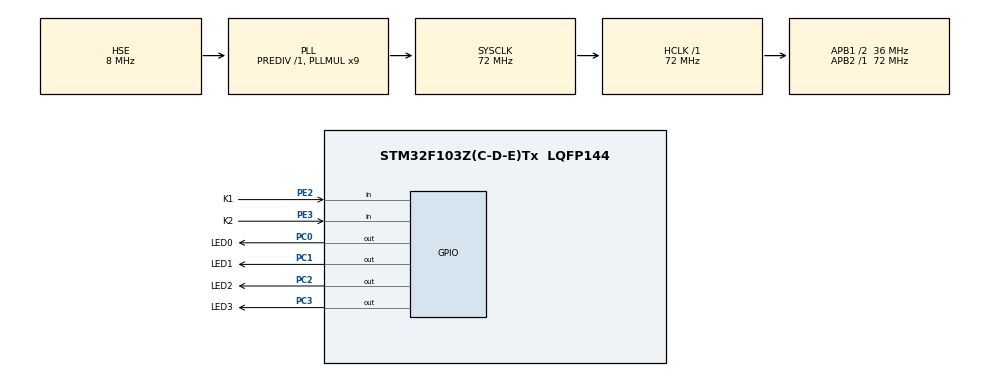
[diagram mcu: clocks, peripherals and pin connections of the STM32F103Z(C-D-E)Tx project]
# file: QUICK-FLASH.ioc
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Mcu.Family=STM32F1
Mcu.Name=STM32F103Z(C-D-E)Tx
Mcu.Package=LQFP144
NVIC.PriorityGroup=NVIC_PRIORITYGROUP_4
OSC_IN.Mode=HSE-External-Oscillator
OSC_IN.Signal=RCC_OSC_IN
OSC_OUT.Mode=HSE-External-Oscillator
OSC_OUT.Signal=RCC_OSC_OUT
PA13.Mode=Serial_Wire
PA13.Signal=SYS_JTMS-SWDIO
PA14.Mode=Serial_Wire
PA14.Signal=SYS_JTCK-SWCLK
PC0.GPIO_Label=LED0
PC0.GPIO_ModeDefaultOutputPP=GPIO_MODE_OUTPUT_PP
PC0.GPIO_PuPd=GPIO_NOPULL
PC0.GPIO_Speed=GPIO_SPEED_FREQ_LOW
PC0.PinState=GPIO_PIN_SET
PC0.Signal=GPIO_Output
PC1.GPIO_Label=LED1
PC1.GPIO_ModeDefaultOutputPP=GPIO_MODE_OUTPUT_PP
PC1.GPIO_PuPd=GPIO_NOPULL
PC1.GPIO_Speed=GPIO_SPEED_FREQ_LOW
PC1.PinState=GPIO_PIN_SET
PC1.Signal=GPIO_Output
PC2.GPIO_Label=LED2
PC2.GPIO_ModeDefaultOutputPP=GPIO_MODE_OUTPUT_PP
PC2.GPIO_PuPd=GPIO_NOPULL
PC2.GPIO_Speed=GPIO_SPEED_FREQ_LOW
PC2.PinState=GPIO_PIN_SET
PC2.Signal=GPIO_Output
PC3.GPIO_Label=LED3
PC3.GPIO_ModeDefaultOutputPP=GPIO_MODE_OUTPUT_PP
PC3.GPIO_PuPd=GPIO_NOPULL
PC3.GPIO_Speed=GPIO_SPEED_FREQ_LOW
PC3.PinState=GPIO_PIN_SET
PC3.Signal=GPIO_Output
PE2.GPIO_Label=K1
PE2.Signal=GPIO_Input
PE3.GPIO_Label=K2
PE3.Signal=GPIO_Input
ProjectManager.HeapSize=0x200
ProjectManager.StackSize=0x400
ProjectManager.TargetToolchain=MDK-ARM V5.27
RCC.ADCPresc=RCC_ADCPCLK2_DIV6
RCC.AHBFreq_Value=72000000
RCC.APB1CLKDivider=RCC_HCLK_DIV2
RCC.APB1Freq_Value=36000000
RCC.APB1TimFreq_Value=72000000
RCC.APB2Freq_Value=72000000
RCC.APB2TimFreq_Value=72000000
RCC.HCLKFreq_Value=72000000
RCC.PLLMUL=RCC_PLL_MUL9
RCC.PLLSourceVirtual=RCC_PLLSOURCE_HSE
RCC.SYSCLKFreq_VALUE=72000000
RCC.SYSCLKSource=RCC_SYSCLKSOURCE_PLLCLK
RCC.USBFreq_Value=48000000
RCC.USBPrescaler=RCC_USBCLKSOURCE_PLL_DIV1_5
board=custom

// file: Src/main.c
/* USER CODE BEGIN Header */
/**
  ******************************************************************************
  * @file           : main.c
  * @brief          : Main program body
  ******************************************************************************
  * @attention
  *
  * <h2><center>&copy; Copyright (c) 2020 STMicroelectronics.
  * All rights reserved.</center></h2>
  *
  * This software component is licensed by ST under BSD 3-Clause license,
  * the "License"; You may not use this file except in compliance with the
  * License. You may obtain a copy of the License at:
  *                        opensource.org/licenses/BSD-3-Clause
  *
  ******************************************************************************
  */
/* USER CODE END Header */

#include "main.h"
#include "gpio.h"

/* USER CODE BEGIN Includes */
#include <stdio.h>

/* USER CODE END Includes */

/* USER CODE BEGIN PTD */
#define FLASH_OP_ADDR 0x08061000  //设置FLASH 地址(必须为偶数，且其值要大于本代码所占用FLASH的大小+0X08000000)
/* USER CODE END PTD */

void SystemClock_Config(void);

/* USER CODE BEGIN 0 */
int fputc(int ch, FILE *f)
{
	return ITM_SendChar(ch);
}

uint32_t FLASH_ReadValue(uint32_t Address)
{
	return *(__IO uint32_t *)Address;
}

void FLASH_Program(uint32_t Address, uint32_t Data)
{
	HAL_FLASH_Unlock();
	//FLASH_WaitForLastOperation(50000);
	HAL_FLASH_Program(FLASH_TYPEPROGRAM_WORD, Address, (uint64_t)Data);
	//FLASH_WaitForLastOperation(FLASH_TIMEOUT_VALUE);
	HAL_FLASH_Lock();
}

void FLASH_Erase(uint32_t PageAddress)
{
	FLASH_EraseInitTypeDef EraseInit;
	uint32_t SectorError=0;

	HAL_FLASH_Unlock();
	//FLASH_WaitForLastOperation(50000);

	EraseInit.NbPages = 1;
	//EraseInit.PageAddress = FLASH_BASE + PageNumber * 0x400;//0x400(1024)
	EraseInit.PageAddress = PageAddress;
	EraseInit.TypeErase = FLASH_TYPEERASE_PAGES;

	HAL_FLASHEx_Erase(&EraseInit, &SectorError);
	//FLASH_WaitForLastOperation(50000);

	HAL_FLASH_Lock();
}
void FLASH_WriteData(uint32_t Address,uint32_t Data)
{
	FLASH_EraseInitTypeDef EraseInit;
	uint32_t SectorError=0;

	HAL_FLASH_Unlock();

	EraseInit.NbPages = 1;
	EraseInit.PageAddress = FLASH_BASE + (Address - FLASH_BASE) / 2048 * 2048;
	EraseInit.TypeErase = FLASH_TYPEERASE_PAGES;

	if(HAL_FLASHEx_Erase(&EraseInit, &SectorError) != HAL_OK)
		return;

	if(HAL_FLASH_Program(FLASH_TYPEPROGRAM_WORD, Address, Data) != HAL_OK)
		return;

	HAL_FLASH_Lock();
}
/* USER CODE END 0 */

int main(void)
{

  /* MCU Configuration--------------------------------------------------------*/

  /* Reset of all peripherals, Initializes the Flash interface and the Systick. */
  HAL_Init();

  /* Configure the system clock */
  SystemClock_Config();

  /* Initialize all configured peripherals */
  MX_GPIO_Init();
  /* USER CODE BEGIN 2 */
	printf("hello world\n");
	//printf("%04x\n",0xffff);
	uint32_t a=0;
	uint32_t b=0;

	//FLASH_WriteData(FLASH_OP_ADDR+20, 100);

  /* USER CODE END 2 */

  /* Infinite loop */
  while (1)
  {

    /* USER CODE BEGIN 3 */
		if(HAL_GPIO_ReadPin(K1_GPIO_Port,K1_Pin) == GPIO_PIN_RESET)
		{
			HAL_Delay(20);
			if(HAL_GPIO_ReadPin(K1_GPIO_Port,K1_Pin) == GPIO_PIN_RESET)
			{
				FLASH_WriteData(FLASH_OP_ADDR+20, a++);
			}
			HAL_GPIO_WritePin(LED0_GPIO_Port, LED0_Pin, GPIO_PIN_RESET);
			while(HAL_GPIO_ReadPin(K1_GPIO_Port,K1_Pin) == GPIO_PIN_RESET);
			HAL_GPIO_WritePin(LED0_GPIO_Port, LED0_Pin, GPIO_PIN_SET);

		}
		if(HAL_GPIO_ReadPin(K2_GPIO_Port,K2_Pin) == GPIO_PIN_RESET)
		{
			HAL_Delay(20);
			if(HAL_GPIO_ReadPin(K2_GPIO_Port,K2_Pin) == GPIO_PIN_RESET)
			{

				b = FLASH_ReadValue(FLASH_OP_ADDR+20);
			}
			HAL_GPIO_WritePin(LED0_GPIO_Port, LED1_Pin, GPIO_PIN_RESET);
			while(HAL_GPIO_ReadPin(K2_GPIO_Port,K2_Pin) == GPIO_PIN_RESET);
			HAL_GPIO_WritePin(LED0_GPIO_Port, LED1_Pin, GPIO_PIN_SET);
		}

		//a = FLASH_ReadValue(FLASH_OP_ADDR+20);
		printf("a:%d   b:%d\n", a, b);
	//	HAL_Delay(200);

  }
  /* USER CODE END 3 */
}

void SystemClock_Config(void)
{
  RCC_OscInitTypeDef RCC_OscInitStruct = {0};
  RCC_ClkInitTypeDef RCC_ClkInitStruct = {0};

  /** Initializes the CPU, AHB and APB busses clocks
  */
  RCC_OscInitStruct.OscillatorType = RCC_OSCILLATORTYPE_HSE;
  RCC_OscInitStruct.HSEState = RCC_HSE_ON;
  RCC_OscInitStruct.HSEPredivValue = RCC_HSE_PREDIV_DIV1;
  RCC_OscInitStruct.HSIState = RCC_HSI_ON;
  RCC_OscInitStruct.PLL.PLLState = RCC_PLL_ON;
  RCC_OscInitStruct.PLL.PLLSource = RCC_PLLSOURCE_HSE;
  RCC_OscInitStruct.PLL.PLLMUL = RCC_PLL_MUL9;
  if (HAL_RCC_OscConfig(&RCC_OscInitStruct) != HAL_OK)
  {
    Error_Handler();
  }
  /** Initializes the CPU, AHB and APB busses clocks
  */
  RCC_ClkInitStruct.ClockType = RCC_CLOCKTYPE_HCLK|RCC_CLOCKTYPE_SYSCLK
                              |RCC_CLOCKTYPE_PCLK1|RCC_CLOCKTYPE_PCLK2;
  RCC_ClkInitStruct.SYSCLKSource = RCC_SYSCLKSOURCE_PLLCLK;
  RCC_ClkInitStruct.AHBCLKDivider = RCC_SYSCLK_DIV1;
  RCC_ClkInitStruct.APB1CLKDivider = RCC_HCLK_DIV2;
  RCC_ClkInitStruct.APB2CLKDivider = RCC_HCLK_DIV1;

  if (HAL_RCC_ClockConfig(&RCC_ClkInitStruct, FLASH_LATENCY_2) != HAL_OK)
  {
    Error_Handler();
  }
}

void Error_Handler(void)
{
}

/************************ (C) COPYRIGHT STMicroelectronics *****END OF FILE****/
